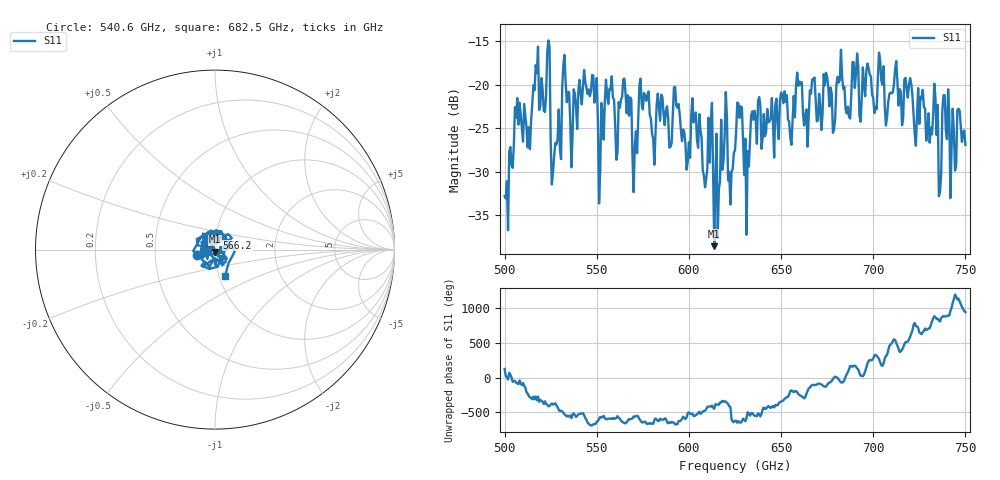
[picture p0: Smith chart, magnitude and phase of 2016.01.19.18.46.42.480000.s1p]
!Created with skrf (http://scikit-rf.org).
# GHz S RI R 50.0
!freq ReS11 ImS11
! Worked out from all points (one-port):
!   401 points, 500 GHz to 750 GHz, reference 50 ohm
!   lowest |S11| = -38.6 dB at 613.8 GHz (marker M1), VSWR 1.02, Z = 50 - j1.18 ohm
!   |S11| at or under -10 dB: start of sweep to end of sweep
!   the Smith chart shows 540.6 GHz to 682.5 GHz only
!   S11 on the Smith chart (normalised r, x): 540.6 GHz: 0.81, -0.05; 566.2 GHz: 1.01, +0.14; 682.5 GHz: 1.07, -0.33
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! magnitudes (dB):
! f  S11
! 500 GHz  -32.8
! 516.9 GHz  -17.7
! 523.1 GHz  -16.3
! 526.2 GHz  -30.0
! 531.2 GHz  -20.4
! 540.6 GHz  -19.4
! 548.8 GHz  -22.1
! 552.5 GHz  -22.1
! 556.2 GHz  -22.2
! 562.5 GHz  -22.7
! 566.2 GHz  -23.3
! 570.6 GHz  -27.0
! 574.4 GHz  -22.2
! 580.6 GHz  -26.2
! 593.8 GHz  -22.6
! 613.8 GHz  -38.6
! 625 GHz  -27.6
! 631.2 GHz  -37.3
! 656.2 GHz  -24.2
! 659.4 GHz  -20.1
! 663.8 GHz  -22.8
! 682.5 GHz  -16.0
! 687.5 GHz  -23.9
! 718.8 GHz  -21.5
! 733.8 GHz  -21.5
! 735.6 GHz  -32.8
! 739.4 GHz  -25.2
! 750 GHz  -26.9
